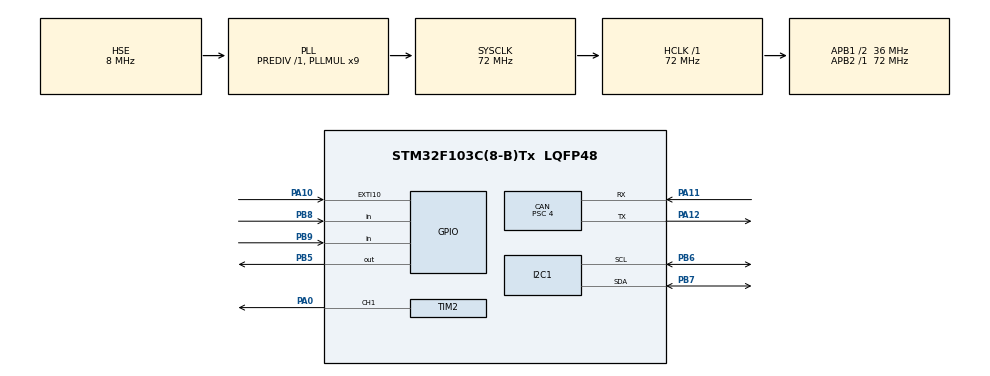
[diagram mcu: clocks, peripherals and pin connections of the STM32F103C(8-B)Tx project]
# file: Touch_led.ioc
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CAN.BS1=CAN_BS1_5TQ
CAN.BS2=CAN_BS2_2TQ
CAN.CalculateBaudRate=1125000
CAN.CalculateTimeBit=888
CAN.CalculateTimeQuantum=111.11111111111111
CAN.Prescaler=4
CAN.SJW=CAN_SJW_2TQ
Dma.Request0=TIM2_CH1
Dma.TIM2_CH1.0.Direction=DMA_MEMORY_TO_PERIPH
Dma.TIM2_CH1.0.Instance=DMA1_Channel5
Dma.TIM2_CH1.0.MemDataAlignment=DMA_MDATAALIGN_HALFWORD
Dma.TIM2_CH1.0.MemInc=DMA_MINC_ENABLE
Dma.TIM2_CH1.0.Mode=DMA_NORMAL
Dma.TIM2_CH1.0.PeriphDataAlignment=DMA_PDATAALIGN_HALFWORD
Dma.TIM2_CH1.0.PeriphInc=DMA_PINC_DISABLE
Dma.TIM2_CH1.0.Priority=DMA_PRIORITY_LOW
Mcu.Family=STM32F1
Mcu.Name=STM32F103C(8-B)Tx
Mcu.Package=LQFP48
NVIC.DMA1_Channel5_IRQn=true\:0\:0\:false\:false\:true\:false\:true\:true
NVIC.EXTI15_10_IRQn=true\:2\:0\:true\:false\:true\:true\:true\:true
NVIC.PriorityGroup=NVIC_PRIORITYGROUP_4
NVIC.TIM2_IRQn=true\:0\:0\:false\:false\:true\:true\:true\:true
PA0-WKUP.GPIO_Speed=GPIO_SPEED_FREQ_HIGH
PA0-WKUP.Signal=S_TIM2_CH1_ETR
PA10.GPIO_PuPd=GPIO_PULLDOWN
PA10.Signal=GPXTI10
PA11.Mode=CAN_Activate
PA11.Signal=CAN_RX
PA12.Mode=CAN_Activate
PA12.Signal=CAN_TX
PA13.Mode=Serial_Wire
PA13.Signal=SYS_JTMS-SWDIO
PA14.Mode=Serial_Wire
PA14.Signal=SYS_JTCK-SWCLK
PB5.GPIO_PuPd=GPIO_PULLUP
PB5.Signal=GPIO_Output
PB6.Mode=I2C
PB6.Signal=I2C1_SCL
PB7.Mode=I2C
PB7.Signal=I2C1_SDA
PB8.GPIO_Mode=GPIO_MODE_INPUT
PB8.GPIO_PuPd=GPIO_PULLDOWN
PB8.Signal=GPIO_Input
PB9.GPIO_Mode=GPIO_MODE_INPUT
PB9.GPIO_PuPd=GPIO_PULLDOWN
PB9.Signal=GPIO_Input
PD0-OSC_IN.Mode=HSE-External-Oscillator
PD0-OSC_IN.Signal=RCC_OSC_IN
PD1-OSC_OUT.Mode=HSE-External-Oscillator
PD1-OSC_OUT.Signal=RCC_OSC_OUT
ProjectManager.HeapSize=0x200
ProjectManager.StackSize=0x400
ProjectManager.TargetToolchain=CMake
RCC.AHBFreq_Value=72000000
RCC.APB1CLKDivider=RCC_HCLK_DIV2
RCC.APB1Freq_Value=36000000
RCC.APB1TimFreq_Value=72000000
RCC.APB2Freq_Value=72000000
RCC.APB2TimFreq_Value=72000000
RCC.HCLKFreq_Value=72000000
RCC.PLLMUL=RCC_PLL_MUL9
RCC.PLLSourceVirtual=RCC_PLLSOURCE_HSE
RCC.SYSCLKFreq_VALUE=72000000
RCC.SYSCLKSource=RCC_SYSCLKSOURCE_PLLCLK
RCC.USBFreq_Value=72000000
SH.S_TIM2_CH1_ETR.0=TIM2_CH1,PWM Generation1 CH1
TIM2.Channel-PWM\ Generation1\ CH1=TIM_CHANNEL_1
TIM2.Period=89
board=custom

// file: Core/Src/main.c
/* USER CODE BEGIN Header */
/**
  ******************************************************************************
  * @file           : main.c
  * @brief          : Main program body
  ******************************************************************************
  * @attention
  *
  * Copyright (c) 2026 STMicroelectronics.
  * All rights reserved.
  *
  * This software is licensed under terms that can be found in the LICENSE file
  * in the root directory of this software component.
  * If no LICENSE file comes with this software, it is provided AS-IS.
  *
  ******************************************************************************
  */
/* USER CODE END Header */
#include "main.h"
#include "can.h"
#include "dma.h"
#include "i2c.h"
#include "tim.h"
#include "gpio.h"

/* USER CODE BEGIN Includes */
#include "ws2812.h"
#include "vibration.h"
#include "oled.h"
#include "buzzer.h"
#include "diag.h"
/* USER CODE END Includes */

/* USER CODE BEGIN PD */
/* 初始化阶段面包屑与失败记录统一放在 applications/diag.c。
   调试时 Watch 窗口看 diag_stage / diag_clock_ok / diag_i2c_ok / diag_can_ok；
   出错时蜂鸣器用"1 长声 + N 短声"报出阶段号 N（见 Diag_Fatal）。 */
/* USER CODE END PD */

/* USER CODE BEGIN PV */
/* 当前已显示的颜色：0=熄灭 1=红 2=蓝，-1=未初始化（强制首次刷新） */
static int8_t led_state = -1;
/* 开关上一次的稳定位置；-1 强制开机时按开关档位刷新一次。
   注意：与 led_state 分开——led_state 是“实际显示的颜色”，可能被远程命令改写，
   switch_prev 只跟踪物理开关，用来做“边沿触发”，这样本地/远程互不持续压制。 */
static int8_t switch_prev = -1;
/* 远程（上位机）颜色命令缓存：由 CAN 接收中断写入，主循环消费 */
static volatile int8_t remote_color = -1;
static volatile uint8_t remote_pending = 0;
/* OLED 上一次显示的振动计数，用于避免每轮循环都重绘；UINT32_MAX 强制首次刷新 */
static uint32_t oled_shown_count = 0xFFFFFFFFU;

/* ---- 击打反馈（灯带亮度）----
   设计：不引入新颜色，用“亮度”区分状态——平时按 LED_BASE_PCT 满亮度常亮，被击打后
   LED_FLASH_MS 内熄灭（亮度 0），随后自动恢复常亮，形成一次“灭一下”的打击反馈。
   这样灯色始终是队伍色（红/蓝），红队蓝队各自色调统一，且无需改动 CAN 协议。
   两个状态各自独立，Led_Update() 是唯一修改灯带的地方：
     led_base_on     = 当前是否应该有灯色（0 = 熄灭档，或颜色未知）
     led_flash_until = 熄灭截止 tick；非 0 且未到时即为“击打熄灭”中 */
#define LED_BASE_PCT     100U      /* 平时亮度百分比（满亮度常亮） */
#define LED_FLASH_PCT      0U      /* 击打时亮度百分比（0 = 熄灭一下） */
#define LED_FLASH_MS     160U      /* 熄灭持续时间（在 150~200ms 区间） */

static uint8_t  led_base_on = 0;              /* 0=应为熄灭 1=应有颜色 */
static uint32_t led_flash_until = 0;          /* 0=不在击打熄灭中 */
static int8_t   led_last_color = -1;          /* 最近一次确定的颜色，用于"熄灭档"下也能给出击打反馈 */

/* 把“基础色 + 是否处于击打熄灭”真正刷到灯带；参数变化由调用方判断，避免每轮循环都发 DMA。
   颜色未知（led_state 仍为 -1，开机后尚未拨过开关）时按蓝色处理，仅用于产生可见的
   击打反馈；真正的颜色会在用户第一次拨动开关或收到 CAN 指令后确定。 */
static void Led_Update(void)
{
  uint8_t flash_off = (led_flash_until != 0U);

  if (!led_base_on)
  {
    /* 开关处在"熄灭"档：平时不亮。但被击打时要用最近一次的颜色闪一下，
       否则完全看不到击打反馈。从未有过颜色时按蓝色处理。 */
    if (flash_off)
    {
      uint8_t rc = (led_last_color == 1) ? 255U : 0U;
      uint8_t bc = (led_last_color == 1) ? 0U   : 255U;
      WS2812_Show(rc, 0U, bc, LED_BASE_PCT);
    }
    else
    {
      WS2812_Clear();
    }
  }
  else
  {
    /* 用独立 RGB 分量传参（不经结构体），红蓝互不干扰 */
    uint8_t r = (led_state == 1) ? 255U : 0U;
    uint8_t b = (led_state == 1) ? 0U   : 255U;
    WS2812_Show(r, 0U, b, flash_off ? LED_FLASH_PCT : LED_BASE_PCT);
  }
  WS2812_Send();
}
/* USER CODE END PV */

void SystemClock_Config(void);
/* USER CODE BEGIN PFP */
static uint8_t Hse_Ready(void);
static uint8_t SystemClock_UseHsi(uint32_t pll_mul);
/* USER CODE END PFP */

/* USER CODE BEGIN 0 */
/* 统一的“设置颜色”入口：本地开关和远程命令都走这里。
   更新 led_state、刷新灯带、并把最新状态上报给上位机。
   注意：闪烁期间只更新 led_state 而不立刻刷灯，否则会把闪烁的亮色冲掉；
   等闪烁结束后由 Led_Update() 统一恢复成新颜色。 */
static void ApplyColor(int8_t color)
{
  led_state   = color;
  led_base_on = (color == 1 || color == 2) ? 1U : 0U;

  if (color == 1 || color == 2)
  {
    led_last_color = color;   /* 记下最近一次确定的颜色，供"熄灭"档的击打反馈使用 */
  }

  if (led_flash_until == 0U)   /* 击打熄灭期间不抢灯带，交给 Led_Update 收尾 */
  {
    Led_Update();
  }

  CAN_SendStatus((uint8_t)led_state, Vibration_GetCount());
}

/* 上电自检：闪一下蓝色再熄灭，用来确认"灯带硬件 + 驱动链"是活的。
   调试期发现这条链曾经完全不通（板子无 8MHz 晶振，原固件在 Error_Handler 死循环），
   保留这个 200ms 的上电指示，以后一上电就知道灯带好没好。 */
static void Led_BootIndicator(void)
{
  WS2812_Show(0U, 0U, 255U, 40U);   /* 蓝色、40% 亮度，不刺眼 */
  WS2812_Send();
  HAL_Delay(200);
  WS2812_Clear();
  WS2812_Send();
}
/* USER CODE END 0 */

int main(void)
{

  /* USER CODE BEGIN 1 */
  /* 显式设置向量表基址为 Flash 起始地址。
     必要性：CubeMX 生成的 system_stm32f1xx.c 没有定义 USER_VECT_TAB_ADDRESS，
     因此 SCB->VTOR 保持复位默认值 0。正常从 Flash 启动时地址 0x00000000 会自动
     别名到 Flash，所以看不出问题；一旦启动模式被改动（例如为无线 ISP 烧录把
     BOOT0/BOOT1 拉高）别名就不再指向 Flash，CPU 会从错误地址取中断向量，
     表现为"程序能跑一段、一进中断就 HardFault"（HFSR.VECTTBL + CFSR.INVSTATE）。
     显式设置后不再依赖启动别名，任何启动模式下中断都能正确跳转。 */
  SCB->VTOR = FLASH_BASE;

  /* USER CODE END 1 */

  /* MCU Configuration--------------------------------------------------------*/

  /* Reset of all peripherals, Initializes the Flash interface and the Systick. */
  Diag_SetStage(DIAG_STAGE_HAL);
  HAL_Init();

  /* Configure the system clock */
  Diag_SetStage(DIAG_STAGE_CLOCK);
  SystemClock_Config();

  /* Initialize all configured peripherals */
  Diag_SetStage(DIAG_STAGE_GPIO);
  MX_GPIO_Init();
  Diag_Init();                    /* 蜂鸣器静音，准备报错码 */
  Diag_SetStage(DIAG_STAGE_DMA);
  MX_DMA_Init();
  Diag_SetStage(DIAG_STAGE_TIM);
  MX_TIM2_Init();
  WS2812_Init();                  /* 按实际 TIM2 时钟重算时序（72/64/48MHz 都能用） */
  Diag_SetStage(DIAG_STAGE_I2C);
  MX_I2C1_Init();
  Diag_RecordI2c(0U);             /* 走到这里说明 I2C 初始化通过（失败会在内部进 Error_Handler） */

  Diag_SetStage(DIAG_STAGE_CAN);
  MX_CAN_Init();
  Diag_RecordCan(diag_can_ok);    /* CAN 内部失败只记录状态码，不再卡死启动流程 */

  /* USER CODE BEGIN 2 */
  Diag_SetStage(DIAG_STAGE_VIB);
  Vibration_Init();

  /* 上电指示放在 OLED 之前：无屏时 I2C 要空等超时，先把灯带结果做出来 */
  Diag_SetStage(DIAG_STAGE_LED);
  Led_BootIndicator();

  Diag_SetStage(DIAG_STAGE_OLED);
  OLED_Init();
  Diag_SetStage(DIAG_STAGE_BUZZER);
  Buzzer_Init();

  Diag_SetStage(DIAG_STAGE_MAIN);   /* 初始化全部通过 */
  /* USER CODE END 2 */

  /* Infinite loop */
  while (1)
  {

    /* USER CODE BEGIN 3 */
    /* 读取开关：PB8 高 -> 红，PB9 高 -> 蓝，都不为高 -> 熄灭；同时为高时红色优先。 */
    int8_t want;
    if (HAL_GPIO_ReadPin(GPIOB, GPIO_PIN_8) == GPIO_PIN_SET)
    {
      want = 1;   /* 红 */
    }
    else if (HAL_GPIO_ReadPin(GPIOB, GPIO_PIN_9) == GPIO_PIN_SET)
    {
      want = 2;   /* 蓝 */
    }
    else
    {
      want = 0;   /* 灭 */
    }

    /* 本地开关：边沿触发——只在“拨动那一刻”作为一次本地命令生效。
       用 switch_prev（而非 led_state）比较，这样远程命令改了颜色后，
       只要开关没再动，就不会被轮询强行改回去。 */
    if (want != switch_prev)
    {
      HAL_Delay(20);   /* 去抖窗口 */

      int8_t confirm;
      if (HAL_GPIO_ReadPin(GPIOB, GPIO_PIN_8) == GPIO_PIN_SET)
      {
        confirm = 1;
      }
      else if (HAL_GPIO_ReadPin(GPIOB, GPIO_PIN_9) == GPIO_PIN_SET)
      {
        confirm = 2;
      }
      else
      {
        confirm = 0;
      }

      if (confirm == want)   /* 两次读数一致才认为稳定 */
      {
        switch_prev = want;      /* 记下开关新位置 */
        ApplyColor(want);        /* 本地命令生效 */
      }
    }

    /* 远程（上位机）命令：CAN 收到后由中断置位，这里消费。
       与本地开关是“最后操作优先”——谁最后动谁生效。 */
    if (remote_pending)
    {
      remote_pending = 0;
      int8_t cmd = remote_color;
      if (cmd >= 0 && cmd <= 2)
      {
        ApplyColor(cmd);         /* 远程命令生效 */
      }
    }

    /* 振动计数由 PA10 上升沿中断累加，这里只负责在计数变化时刷新 OLED 显示、蜂鸣一声 */
    uint32_t vib_count = Vibration_GetCount();
    if (vib_count != oled_shown_count)
    {
      /* 击打反馈：先灭灯（视觉最直接），再蜂鸣，再上报，最后刷 OLED。
         顺序很重要——把会阻塞的 OLED 放最后，任何一步都不会拖慢反馈。 */
      led_flash_until = HAL_GetTick() + LED_FLASH_MS;
      Led_Update();                /* 立刻熄灭一下 */
      Buzzer_Beep();
      oled_shown_count = vib_count;
      CAN_SendStatus((uint8_t)led_state, vib_count);
      OLED_ShowCount(vib_count);   /* 阻塞较久，放在最后 */
    }

    /* 击打熄灭到时：收尾并恢复常亮（若期间颜色被改过，这里会应用新颜色） */
    if (led_flash_until != 0U && (int32_t)(HAL_GetTick() - led_flash_until) >= 0)
    {
      led_flash_until = 0U;
      Led_Update();
    }
    Buzzer_Update();   /* 检测蜂鸣是否到时，到时则关闭 */

    HAL_Delay(10);   /* 轮询间隔 */
  }
  /* USER CODE END 3 */
}

/**
  * @brief  尝试起振 HSE 并等待就绪。
  *         注意 STM32F1 复位后 HSE 是关闭的，必须先置 HSEON 再等 HSERDY。
  *         本板晶振确实能起振（HSERDY 会置位），但 PLL 高倍频不稳定：
  *         ×4(32MHz) 可用，×5 及以上必 HardFault，因此当前 HSE 分支被停用。
  * @retval 1=HSE 就绪  0=超时（无晶振或晶振故障）
  */
__attribute__((unused))   /* HSE 分支停用期间本函数无调用者，保留代码备恢复 */
static uint8_t Hse_Ready(void)
{
  uint32_t start = HAL_GetTick();

  /* 已经是旁路/直连模式（有源晶振）时会立刻置位 */
  if ((RCC->CR & RCC_CR_HSERDY) != 0U)
  {
    return 1U;
  }

  RCC->CR |= RCC_CR_HSEON;

  while ((RCC->CR & RCC_CR_HSERDY) == 0U)
  {
    if ((HAL_GetTick() - start) > 300U)
    {
      RCC->CR &= ~RCC_CR_HSEON;   /* 放弃 HSE，不留悬空的振荡器 */
      return 0U;
    }
  }
  return 1U;
}

/**
  * @brief  切到 HSI/2 × pll_mul 的 PLL 方案（无晶振时的兜底）。
  * @retval 1=成功 0=失败
  */
static uint8_t SystemClock_UseHsi(uint32_t pll_mul)
{
  RCC_OscInitTypeDef hsi = {0};

  hsi.OscillatorType = RCC_OSCILLATORTYPE_HSI;
  hsi.HSIState = RCC_HSI_ON;
  hsi.HSICalibrationValue = RCC_HSICALIBRATION_DEFAULT;
  hsi.PLL.PLLState = RCC_PLL_ON;
  hsi.PLL.PLLSource = RCC_PLLSOURCE_HSI_DIV2;
  hsi.PLL.PLLMUL = pll_mul;

  return (HAL_RCC_OscConfig(&hsi) == HAL_OK) ? 1U : 0U;
}

void SystemClock_Config(void)
{
  RCC_ClkInitTypeDef RCC_ClkInitStruct = {0};

  /* ===== 暂时停用 HSE，直接使用内部 HSI =====
     原因（实机验证）：本板 8MHz 晶振在 PLL 高倍频下不稳定。
       HSE ×4 = 32MHz -> 正常
       HSE ×5 = 40MHz -> HardFault
       HSE ×8 = 64MHz -> HardFault
       HSE ×9 = 72MHz -> HardFault（实测停在 0x080043C8 故障处理程序，
                                  RCC_CFGR=0x001D3F0A 已切到 HSE 72MHz 后崩）
     而**同样 64MHz 走 HSI 可以完整运行**，故先用 HSI 保证功能可用。
     怀疑晶振负载电容与规格不匹配；硬件排查后可恢复下面的 HSE 分支。
     恢复方法：把 #if 0 改成 #if 1，并把 HSE 的 PLLMUL 降为 RCC_PLL_MUL4。 */
#if 0
  RCC_OscInitTypeDef RCC_OscInitStruct = {0};

  if (Hse_Ready() != 0U)
  {
    /* ---- 首选：HSE × 9 = 72MHz，WS2812 时序最精确 ---- */
    RCC_OscInitStruct.OscillatorType = RCC_OSCILLATORTYPE_HSE;
    RCC_OscInitStruct.HSEState = RCC_HSE_ON;
    RCC_OscInitStruct.HSEPredivValue = RCC_HSE_PREDIV_DIV1;
    RCC_OscInitStruct.HSIState = RCC_HSI_ON;
    RCC_OscInitStruct.PLL.PLLState = RCC_PLL_ON;
    RCC_OscInitStruct.PLL.PLLSource = RCC_PLLSOURCE_HSE;
    RCC_OscInitStruct.PLL.PLLMUL = RCC_PLL_MUL9;

    if (HAL_RCC_OscConfig(&RCC_OscInitStruct) == HAL_OK)
    {
      diag_clock_ok = 1U;   /* 72MHz */
    }
    else if (SystemClock_UseHsi(RCC_PLL_MUL16) != 0U)
    {
      diag_clock_ok = 3U;   /* 64MHz */
    }
    else if (SystemClock_UseHsi(RCC_PLL_MUL12) != 0U)
    {
      diag_clock_ok = 2U;   /* 48MHz */
    }
    else
    {
      Error_Handler();
    }
  }
  else
#endif
  {
    /* ---- 内部 HSI：HSI/2 × 16 = 64MHz（实测可用）---- */
    if (SystemClock_UseHsi(RCC_PLL_MUL16) != 0U)
    {
      diag_clock_ok = 3U;   /* 64MHz */
    }
    else if (SystemClock_UseHsi(RCC_PLL_MUL12) != 0U)
    {
      diag_clock_ok = 2U;   /* 48MHz */
    }
    else
    {
      Error_Handler();
    }
  }

  /** Initializes the CPU, AHB and APB buses clocks
  */
  RCC_ClkInitStruct.ClockType = RCC_CLOCKTYPE_HCLK|RCC_CLOCKTYPE_SYSCLK
                              |RCC_CLOCKTYPE_PCLK1|RCC_CLOCKTYPE_PCLK2;
  RCC_ClkInitStruct.SYSCLKSource = RCC_SYSCLKSOURCE_PLLCLK;
  RCC_ClkInitStruct.AHBCLKDivider = RCC_SYSCLK_DIV1;
  RCC_ClkInitStruct.APB1CLKDivider = RCC_HCLK_DIV2;
  RCC_ClkInitStruct.APB2CLKDivider = RCC_HCLK_DIV1;

  /* 主频最高 72MHz，Flash 需 2 个等待周期；更低主频下同样安全 */
  if (HAL_RCC_ClockConfig(&RCC_ClkInitStruct, FLASH_LATENCY_2) != HAL_OK)
  {
    Error_Handler();
  }
}

/* USER CODE BEGIN 4 */
/* CAN RX FIFO0 收到消息时回调（在 USB_LP_CAN1_RX0_IRQHandler 上下文）。
   只解析颜色控制帧 CAN_CMD_STD_ID，取 data[0] 作为目标颜色，交给主循环处理。 */
void HAL_CAN_RxFifo0MsgPendingCallback(CAN_HandleTypeDef *hcan_rx)
{
  CAN_RxHeaderTypeDef rxHeader;
  uint8_t rxData[8];

  if (HAL_CAN_GetRxMessage(hcan_rx, CAN_RX_FIFO0, &rxHeader, rxData) != HAL_OK)
  {
    return;
  }

  if (rxHeader.IDE == CAN_ID_STD && rxHeader.StdId == CAN_CMD_STD_ID && rxHeader.DLC >= 1)
  {
    if (rxData[0] <= 2)          /* 只接受 0/1/2 */
    {
      remote_color = (int8_t)rxData[0];
      remote_pending = 1;
    }
  }
}
/* USER CODE END 4 */

void Error_Handler(void)
{
  /* USER CODE BEGIN Error_Handler_Debug */
  /* 蜂鸣器报错码：1 长声 + N 短声，N = 出错阶段号（DIAG_STAGE_xxx）。
     diag_stage 变量也可在 Watch 窗口查看。Diag_Fatal 内部死循环。
     阶段对照：1=HAL_Init 2=时钟 3=GPIO 4=DMA 5=TIM2 6=I2C1 7=CAN
               8=Vibration 9=OLED 10=Buzzer 11=灯带自检 12=主循环 */
  Diag_Fatal(diag_stage);
  /* USER CODE END Error_Handler_Debug */
}
